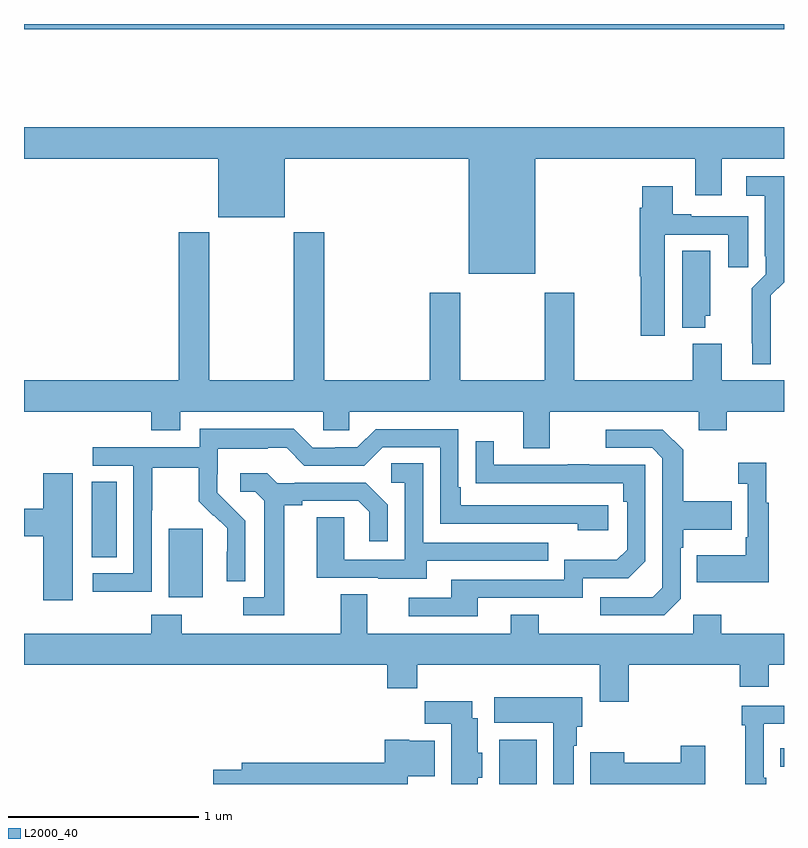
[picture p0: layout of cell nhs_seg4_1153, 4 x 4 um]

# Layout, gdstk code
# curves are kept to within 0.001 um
import gdstk
lib = gdstk.Library(unit=1e-6, precision=1e-09)
def R(c, l, rs):  # rectangles x0, y0, x1, y1
    for r in rs: c.add(gdstk.rectangle(r[:2], r[2:], *l))
def P(c, l, *ps):  # polygons
    for p in ps: c.add(gdstk.Polygon(p, *l))
L2000_40 = (2000, 40)

nhs_seg4_1153 = lib.new_cell('nhs_seg4_1153')
R(nhs_seg4_1153, L2000_40, [(173.501,754.9,173.698,755.134), (174.979,754.991,175,755.088), (171.761,755.882,171.94,756.243), (171.356,756.094,171.487,756.491), (171,758.872,175,758.9)])
P(nhs_seg4_1153, L2000_40, [(173.692,758.192),(174.533,758.192),(174.533,757.998),(174.673,757.998),(174.673,758.192),(175,758.192),(175,758.356),(171,758.356),(171,758.192),(172.022,758.192),(172.022,757.883),(172.372,757.883),(172.372,758.192),(173.342,758.192),(173.342,757.586),(173.692,757.586)],
  [(174.931,757.472),(175,757.542),(175,758.098),(174.801,758.098),(174.801,757.997),(174.899,757.997),(174.899,757.678),(174.903,757.678),(174.903,757.584),(174.829,757.51),(174.829,757.219),(174.833,757.219),(174.833,757.109),(174.931,757.109)],
  [(174.373,757.791),(174.707,757.791),(174.707,757.62),(174.811,757.62),(174.811,757.887),(174.511,757.887),(174.511,757.9),(174.415,757.9),(174.415,758.047),(174.254,758.047),(174.254,757.934),(174.242,757.934),(174.242,757.572),(174.247,757.572),(174.247,757.26),(174.373,757.26)],
  [(173.767,756.86),(174.551,756.86),(174.551,756.761),(174.699,756.761),(174.699,756.86),(175,756.86),(175,757.024),(174.673,757.024),(174.673,757.216),(174.521,757.216),(174.521,757.024),(173.895,757.024),(173.895,757.486),(173.74,757.486),(173.74,757.024),(173.295,757.024),(173.295,757.486),(173.135,757.486),(173.135,757.024),(172.58,757.024),(172.58,757.804),(172.42,757.804),(172.42,757.024),(171.975,757.024),(171.975,757.804),(171.815,757.804),(171.815,757.024),(171,757.024),(171,756.86),(171.671,756.86),(171.671,756.761),(171.823,756.761),(171.823,756.86),(172.575,756.86),(172.575,756.762),(172.713,756.762),(172.713,756.86),(173.627,756.86),(173.627,756.666),(173.767,756.666)],
  [(174.586,757.365),(174.613,757.365),(174.613,757.706),(174.464,757.706),(174.464,757.301),(174.586,757.301)],
  [(171.672,756.34),(171.675,756.34),(171.675,756.564),(171.919,756.564),(171.919,756.389),(171.996,756.312),(171.999,756.315),(172.07,756.245),(172.07,756.122),(172.068,756.122),(172.068,755.968),(172.164,755.968),(172.164,756.286),(172.018,756.434),(172.018,756.531),(172.02,756.531),(172.02,756.665),(172.283,756.665),(172.283,756.669),(172.383,756.669),(172.476,756.576),(172.791,756.576),(172.887,756.672),(173.19,756.672),(173.19,756.27),(173.915,756.27),(173.915,756.236),(174.076,756.236),(174.076,756.366),(173.299,756.366),(173.299,756.463),(173.286,756.463),(173.286,756.768),(172.851,756.768),(172.755,756.672),(172.637,756.672),(172.637,756.669),(172.521,756.669),(172.421,756.769),(171.924,756.769),(171.924,756.672),(171.363,756.672),(171.363,756.576),(171.576,756.576),(171.576,756.009),(171.363,756.009),(171.363,755.911),(171.672,755.911)],
  [(174.456,755.874),(174.456,756.143),(174.469,756.143),(174.469,756.239),(174.725,756.239),(174.725,756.387),(174.469,756.387),(174.469,756.659),(174.363,756.765),(174.063,756.765),(174.063,756.669),(174.306,756.669),(174.36,756.615),(174.36,755.934),(174.309,755.883),(174.033,755.883),(174.033,755.787),(174.369,755.787)],
  [(173.389,755.88),(173.94,755.88),(173.94,755.982),(174.18,755.982),(174.27,756.072),(174.27,756.579),(173.975,756.579),(173.975,756.584),(173.863,756.584),(173.863,756.579),(173.473,756.579),(173.473,756.703),(173.377,756.703),(173.377,756.484),(174.154,756.483),(174.154,756.386),(174.174,756.386),(174.174,756.132),(174.121,756.079),(173.844,756.079),(173.844,755.976),(173.249,755.976),(173.249,755.88),(173.025,755.88),(173.025,755.784),(173.389,755.784)],
  [(174.919,756.379),(174.907,756.379),(174.907,756.592),(174.759,756.592),(174.759,756.479),(174.81,756.479),(174.81,756.199),(174.798,756.199),(174.798,756.103),(174.541,756.103),(174.541,755.963),(174.919,755.963)],
  [(173.119,756.075),(173.759,756.075),(173.759,756.171),(173.1,756.171),(173.1,756.587),(172.932,756.587),(172.932,756.486),(173.004,756.486),(173.004,756.081),(172.686,756.081),(172.686,756.305),(172.541,756.305),(172.541,755.985),(172.865,755.985),(172.865,755.981),(173.119,755.981)],
  [(171.256,756.535),(171.101,756.535),(171.101,756.35),(171.002,756.35),(171.002,756.337),(171,756.337),(171,756.215),(171.002,756.215),(171.002,756.203),(171.101,756.203),(171.101,755.868),(171.256,755.868)],
  [(172.369,756.368),(172.465,756.368),(172.465,756.39),(172.76,756.39),(172.817,756.333),(172.817,756.177),(172.914,756.177),(172.914,756.37),(172.798,756.486),(172.426,756.486),(172.426,756.483),(172.332,756.483),(172.28,756.535),(172.137,756.535),(172.137,756.438),(172.218,756.438),(172.265,756.391),(172.265,755.883),(172.155,755.883),(172.155,755.787),(172.369,755.787)],
  [(174.182,755.528),(174.767,755.528),(174.767,755.411),(174.919,755.411),(174.919,755.528),(175,755.528),(175,755.692),(174.669,755.692),(174.669,755.791),(174.522,755.791),(174.522,755.692),(173.709,755.692),(173.709,755.791),(173.561,755.791),(173.561,755.692),(172.807,755.692),(172.807,755.9),(172.667,755.9),(172.667,755.692),(171.831,755.692),(171.831,755.791),(171.671,755.791),(171.671,755.692),(171,755.692),(171,755.528),(172.913,755.528),(172.913,755.404),(173.069,755.404),(173.069,755.528),(174.029,755.528),(174.029,755.334),(174.182,755.334)],
  [(173.893,755.102),(173.908,755.102),(173.908,755.202),(173.938,755.202),(173.938,755.356),(173.474,755.356),(173.474,755.222),(173.786,755.222),(173.786,754.9),(173.893,754.9)],
  [(173.389,754.932),(173.413,754.932),(173.413,755.064),(173.389,755.064),(173.389,755.245),(173.359,755.245),(173.359,755.335),(173.11,755.335),(173.11,755.216),(173.249,755.216),(173.249,754.9),(173.389,754.9)],
  [(174.907,754.933),(174.894,754.933),(174.894,755.217),(175,755.217),(175,755.313),(174.778,755.313),(174.778,755.21),(174.797,755.21),(174.797,754.9),(174.907,754.9)],
  [(173.02,754.94),(173.161,754.94),(173.161,755.128),(173.028,755.128),(173.028,755.134),(172.898,755.134),(172.898,755.012),(172.145,755.012),(172.145,754.976),(171.996,754.976),(171.996,754.9),(173.02,754.9)],
  [(174.586,755.101),(174.457,755.101),(174.457,755.012),(174.16,755.012),(174.16,755.068),(173.981,755.068),(173.981,754.9),(174.586,754.9)])

lib.write_gds('nhs_seg4_1153.gds')
